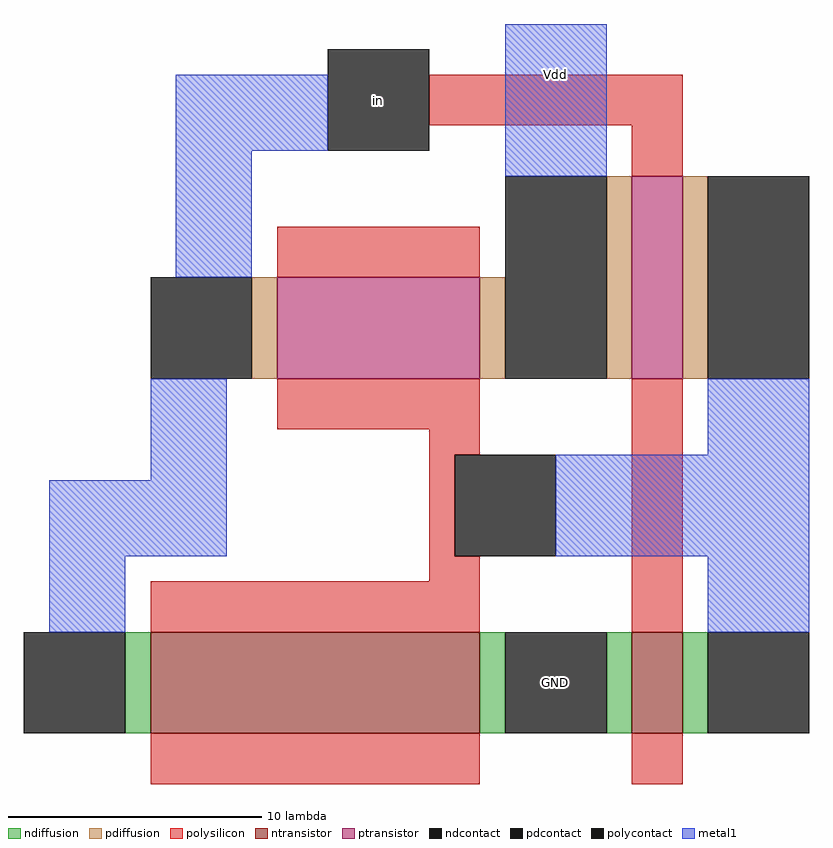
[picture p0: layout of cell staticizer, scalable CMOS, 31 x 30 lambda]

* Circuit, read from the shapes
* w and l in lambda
.subckt staticizer GND Vdd in
M1 GND inverter_0/out in VSUBS nfet w=4 l=13
M2 inverter_0/out in GND VSUBS nfet w=4 l=2
M3 Vdd inverter_0/out in NWELL pfet w=4 l=8
M4 inverter_0/out in Vdd NWELL pfet w=8 l=2
.ends

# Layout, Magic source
magic
tech scmos
<< polysilicon >>
rect -3 28 7 30
rect -9 22 -1 24
rect -9 16 -1 18
rect -3 15 -1 16
rect -3 11 -2 15
rect -3 10 -1 11
rect -14 8 -1 10
rect -14 2 -1 4
<< ndiffusion >>
rect -15 4 -14 8
rect -1 4 0 8
<< pdiffusion >>
rect -10 18 -9 22
rect -1 18 0 22
<< metal1 >>
rect -13 27 -7 30
rect -13 22 -10 27
rect 0 26 4 32
rect -14 14 -11 18
rect -18 11 -11 14
rect 2 11 12 15
rect -18 8 -15 11
<< ntransistor >>
rect -14 4 -1 8
<< ptransistor >>
rect -9 18 -1 22
<< polycontact >>
rect -7 27 -3 31
rect -2 11 2 15
<< ndcontact >>
rect -19 4 -15 8
rect 0 4 4 8
<< pdcontact >>
rect -14 18 -10 22
rect 0 18 4 26
use inverter  inverter_0
transform 1 0 5 0 1 -3
box -5 5 7 31
<< labels >>
rlabel metal1 0 28 4 32 5 Vdd
rlabel ndcontact 0 4 4 8 1 GND
rlabel polycontact -7 27 -3 31 5 in
<< end >>

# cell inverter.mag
magic
tech scmos
<< polysilicon >>
rect 0 29 2 31
rect 0 11 2 21
rect 0 5 2 7
<< ndiffusion >>
rect -1 7 0 11
rect 2 7 3 11
<< pdiffusion >>
rect -1 21 0 29
rect 2 21 3 29
<< metal1 >>
rect 3 11 7 21
<< ntransistor >>
rect 0 7 2 11
<< ptransistor >>
rect 0 21 2 29
<< ndcontact >>
rect -5 7 -1 11
rect 3 7 7 11
<< pdcontact >>
rect -5 21 -1 29
rect 3 21 7 29
<< labels >>
rlabel metal1 5 16 5 16 7 out
<< end >>
